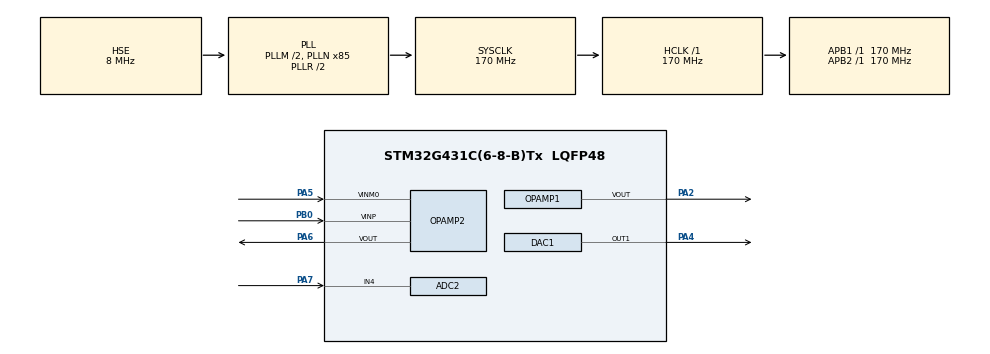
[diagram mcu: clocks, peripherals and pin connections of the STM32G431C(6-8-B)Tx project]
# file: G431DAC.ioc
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ADC2.Channel-0\#ChannelRegularConversion=ADC_CHANNEL_4
ADC2.NbrOfConversionFlag=1
ADC2.OffsetNumber-0\#ChannelRegularConversion=ADC_OFFSET_NONE
ADC2.Rank-0\#ChannelRegularConversion=1
ADC2.SamplingTime-0\#ChannelRegularConversion=ADC_SAMPLETIME_2CYCLES_5
DAC1.DAC_HighFrequency_OUT1-DAC_OUT1=DAC_HIGH_FREQUENCY_INTERFACE_MODE_ABOVE_160MHZ
DAC1.DAC_Trigger_OUT1-DAC_OUT1=DAC_TRIGGER_NONE
DAC3.DAC_HighFrequency_OUT1-DAC_OUT1_Int=DAC_HIGH_FREQUENCY_INTERFACE_MODE_AUTOMATIC
DAC3.DAC_Trigger_OUT1-DAC_OUT1_Int=DAC_TRIGGER_T6_TRGO
Dma.DAC3_CH1.0.Direction=DMA_MEMORY_TO_PERIPH
Dma.DAC3_CH1.0.EventEnable=DISABLE
Dma.DAC3_CH1.0.Instance=DMA1_Channel1
Dma.DAC3_CH1.0.MemDataAlignment=DMA_MDATAALIGN_HALFWORD
Dma.DAC3_CH1.0.MemInc=DMA_MINC_ENABLE
Dma.DAC3_CH1.0.Mode=DMA_CIRCULAR
Dma.DAC3_CH1.0.PeriphDataAlignment=DMA_PDATAALIGN_WORD
Dma.DAC3_CH1.0.PeriphInc=DMA_PINC_DISABLE
Dma.DAC3_CH1.0.Polarity=HAL_DMAMUX_REQ_GEN_RISING
Dma.DAC3_CH1.0.Priority=DMA_PRIORITY_VERY_HIGH
Dma.DAC3_CH1.0.RequestNumber=1
Dma.DAC3_CH1.0.SignalID=NONE
Dma.DAC3_CH1.0.SyncEnable=DISABLE
Dma.DAC3_CH1.0.SyncPolarity=HAL_DMAMUX_SYNC_NO_EVENT
Dma.DAC3_CH1.0.SyncRequestNumber=1
Dma.DAC3_CH1.0.SyncSignalID=NONE
Dma.Request0=DAC3_CH1
Mcu.Family=STM32G4
Mcu.Name=STM32G431C(6-8-B)Tx
Mcu.Package=LQFP48
NVIC.DMA1_Channel1_IRQn=true\:0\:0\:false\:false\:true\:false\:true\:true
NVIC.PriorityGroup=NVIC_PRIORITYGROUP_4
OPAMP1.PowerMode=OPAMP_POWERMODE_HIGHSPEED
OPAMP2.PowerMode=OPAMP_POWERMODE_HIGHSPEED
PA2.Mode=Follower-DAC_OUT2-INP
PA2.Signal=OPAMP1_VOUT
PA4.Signal=COMP_DAC11_group
PA5.Mode=PGA Connected
PA5.Signal=OPAMP2_VINM0
PA6.Mode=PGA Connected
PA6.Signal=OPAMP2_VOUT
PA7.Mode=IN4-Single-Ended
PA7.Signal=ADC2_IN4
PB0.Mode=PGA Connected
PB0.Signal=OPAMP2_VINP
PF0-OSC_IN.Mode=HSE-External-Oscillator
PF0-OSC_IN.Signal=RCC_OSC_IN
PF1-OSC_OUT.Mode=HSE-External-Oscillator
PF1-OSC_OUT.Signal=RCC_OSC_OUT
ProjectManager.HeapSize=0x200
ProjectManager.StackSize=0x400
ProjectManager.TargetToolchain=Makefile
RCC.ADC12Freq_Value=170000000
RCC.AHBFreq_Value=170000000
RCC.APB1Freq_Value=170000000
RCC.APB1TimFreq_Value=170000000
RCC.APB2Freq_Value=170000000
RCC.APB2TimFreq_Value=170000000
RCC.CortexFreq_Value=170000000
RCC.EXTERNAL_CLOCK_VALUE=12288000
RCC.HCLKFreq_Value=170000000
RCC.HSE_VALUE=8000000
RCC.HSI48_VALUE=48000000
RCC.HSI_VALUE=16000000
RCC.LSE_VALUE=32768
RCC.PLLM=RCC_PLLM_DIV2
RCC.PLLN=85
RCC.PLLSourceVirtual=RCC_PLLSOURCE_HSE
RCC.SYSCLKFreq_VALUE=170000000
RCC.SYSCLKSource=RCC_SYSCLKSOURCE_PLLCLK
RCC.USBFreq_Value=170000000
RCC.VCOOutputFreq_Value=340000000
SH.COMP_DAC11_group.0=DAC1_OUT1,DAC_OUT1
TIM6.PeriodNoDither=169
TIM6.TIM_MasterOutputTrigger=TIM_TRGO_UPDATE
VP_DAC3_VS_DACI1.Mode=DAC_OUT1_Int
VP_SYS_VS_DBSignals.Mode=DisableDeadBatterySignals
VP_TIM6_VS_ClockSourceINT.Mode=Enable_Timer
board=custom

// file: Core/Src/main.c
/* USER CODE BEGIN Header */
/**
  ******************************************************************************
  * @file           : main.c
  * @brief          : Main program body
  ******************************************************************************
  * @attention
  *
  * Copyright (c) 2022 STMicroelectronics.
  * All rights reserved.
  *
  * This software is licensed under terms that can be found in the LICENSE file
  * in the root directory of this software component.
  * If no LICENSE file comes with this software, it is provided AS-IS.
  *
  ******************************************************************************
  */
/* USER CODE END Header */
#include "main.h"
#include "adc.h"
#include "dac.h"
#include "dma.h"
#include "opamp.h"
#include "tim.h"
#include "gpio.h"

/* USER CODE BEGIN Includes */
#include <math.h>
/* USER CODE END Includes */

/* USER CODE BEGIN PD */
#define DAC_BUF_LEN     10000
#define DAC_OUT_0A      617
#define AMPERE_TO_DAC   0.04013
/* USER CODE END PD */

/* USER CODE BEGIN PV */
volatile uint16_t dacBuffer[DAC_BUF_LEN];
volatile float setpoint = 10.0;
volatile int dutyCycle = 10;
/* USER CODE END PV */

void SystemClock_Config(void);

int main(void)
{

  /* MCU Configuration--------------------------------------------------------*/

  /* Reset of all peripherals, Initializes the Flash interface and the Systick. */
  HAL_Init();

  /* Configure the system clock */
  SystemClock_Config();

  /* Initialize all configured peripherals */
  MX_GPIO_Init();
  MX_DMA_Init();
  MX_OPAMP1_Init();
  MX_DAC3_Init();
  MX_TIM6_Init();
  MX_ADC2_Init();
  MX_DAC1_Init();
  MX_OPAMP2_Init();
  /* USER CODE BEGIN 2 */

  for (int i = 0; i < DAC_BUF_LEN; i++) {
    dacBuffer[i] = DAC_OUT_0A;
  }
  dutyCycle = 10;
  HAL_OPAMP_Start(&hopamp1);
  HAL_DAC_Start_DMA(&hdac3, DAC_CHANNEL_1, (uint32_t *) &dacBuffer, DAC_BUF_LEN, DAC_ALIGN_12B_R);
  HAL_TIM_Base_Start(&htim6);

  HAL_DAC_Start(&hdac1, DAC_CHANNEL_1);
  HAL_DAC_SetValue(&hdac1, DAC_CHANNEL_1, DAC_ALIGN_12B_R, (uint32_t) (0.5 / 3.3 * 4096.0));

  HAL_OPAMP_Start(&hopamp2);

  /* USER CODE END 2 */

  /* Infinite loop */
  while (1)
  {

    /* USER CODE BEGIN 3 */
    for (int i = 0; i < dutyCycle; i++) {
      dacBuffer[i] = (uint16_t) (setpoint / AMPERE_TO_DAC) + DAC_OUT_0A;
    }
    for (int i = dutyCycle; i < DAC_BUF_LEN; i++ ) {
      dacBuffer[i] = DAC_OUT_0A;
    }
  }
  /* USER CODE END 3 */
}

void SystemClock_Config(void)
{
  RCC_OscInitTypeDef RCC_OscInitStruct = {0};
  RCC_ClkInitTypeDef RCC_ClkInitStruct = {0};

  /** Configure the main internal regulator output voltage
  */
  HAL_PWREx_ControlVoltageScaling(PWR_REGULATOR_VOLTAGE_SCALE1_BOOST);

  /** Initializes the RCC Oscillators according to the specified parameters
  * in the RCC_OscInitTypeDef structure.
  */
  RCC_OscInitStruct.OscillatorType = RCC_OSCILLATORTYPE_HSE;
  RCC_OscInitStruct.HSEState = RCC_HSE_ON;
  RCC_OscInitStruct.PLL.PLLState = RCC_PLL_ON;
  RCC_OscInitStruct.PLL.PLLSource = RCC_PLLSOURCE_HSE;
  RCC_OscInitStruct.PLL.PLLM = RCC_PLLM_DIV2;
  RCC_OscInitStruct.PLL.PLLN = 85;
  RCC_OscInitStruct.PLL.PLLP = RCC_PLLP_DIV2;
  RCC_OscInitStruct.PLL.PLLQ = RCC_PLLQ_DIV2;
  RCC_OscInitStruct.PLL.PLLR = RCC_PLLR_DIV2;
  if (HAL_RCC_OscConfig(&RCC_OscInitStruct) != HAL_OK)
  {
    Error_Handler();
  }

  /** Initializes the CPU, AHB and APB buses clocks
  */
  RCC_ClkInitStruct.ClockType = RCC_CLOCKTYPE_HCLK|RCC_CLOCKTYPE_SYSCLK
                              |RCC_CLOCKTYPE_PCLK1|RCC_CLOCKTYPE_PCLK2;
  RCC_ClkInitStruct.SYSCLKSource = RCC_SYSCLKSOURCE_PLLCLK;
  RCC_ClkInitStruct.AHBCLKDivider = RCC_SYSCLK_DIV1;
  RCC_ClkInitStruct.APB1CLKDivider = RCC_HCLK_DIV1;
  RCC_ClkInitStruct.APB2CLKDivider = RCC_HCLK_DIV1;

  if (HAL_RCC_ClockConfig(&RCC_ClkInitStruct, FLASH_LATENCY_4) != HAL_OK)
  {
    Error_Handler();
  }
}

void Error_Handler(void)
{
  __disable_irq();
  while (1)
  {
  }
}
